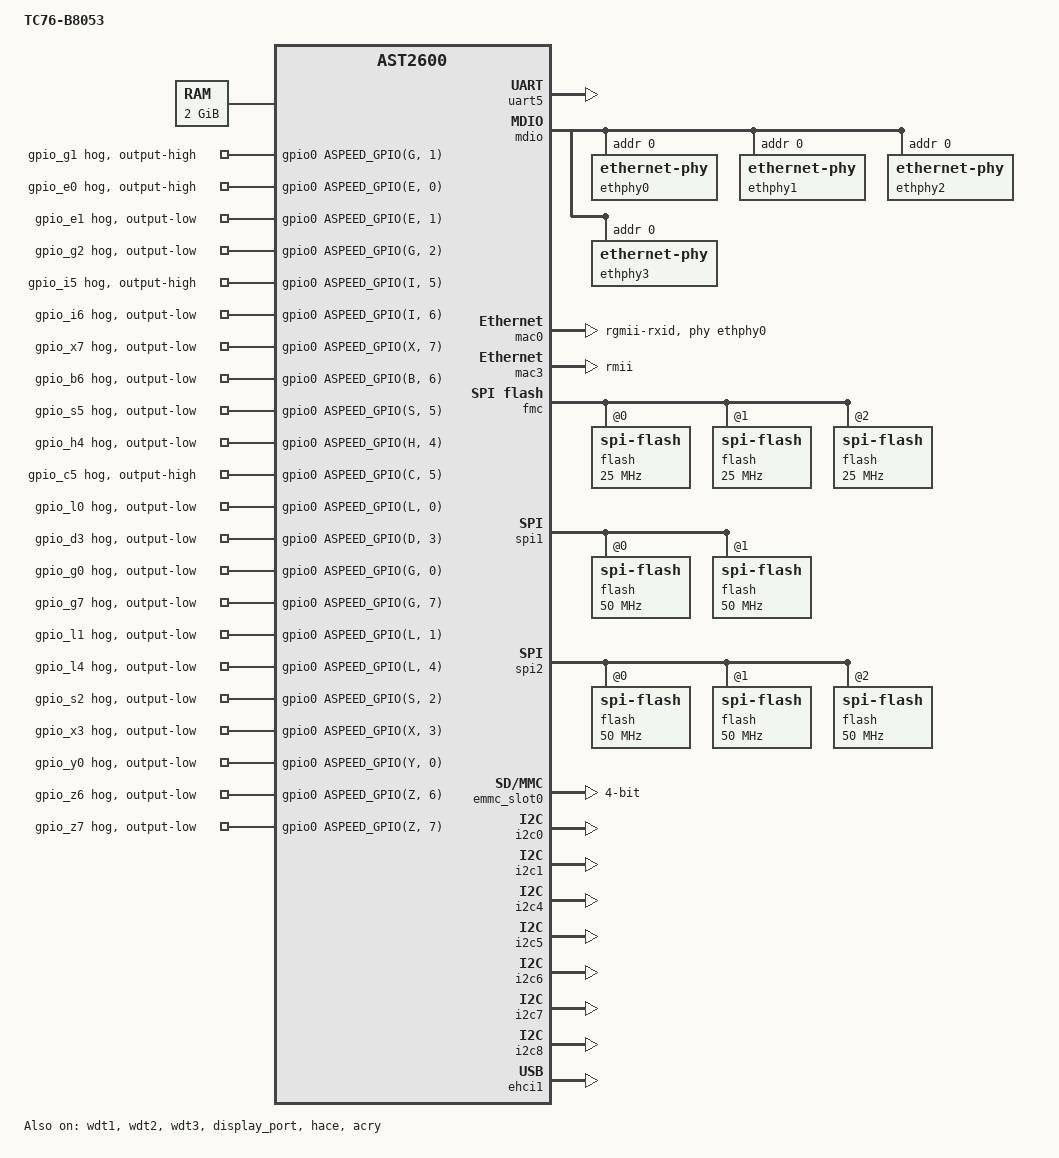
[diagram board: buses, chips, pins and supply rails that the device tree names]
/dts-v1/;

#include "ast2600-u-boot.dtsi"

/ {
        model = "TC76-B8053";
        compatible = "aspeed,ast2600-evb", "aspeed,ast2600";

	memory {
		device_type = "memory";
		reg = <0x80000000 0x80000000>;
	};

	reserved-memory {
		#address-cells = <1>;
		#size-cells = <1>;
		ranges;

		gfx_memory: framebuffer {
			size = <0x01000000>;
			alignment = <0x01000000>;
			compatible = "shared-dma-pool";
			reusable;
		};

		video_memory: video {
			size = <0x04000000>;
			alignment = <0x01000000>;
			compatible = "shared-dma-pool";
			no-map;
		};

		ramoops@fb000000 {
			compatible = "ramoops";
			reg = <0xfb000000 0x30000>;
			record-size = <0x10000>;
			console-size = <0x10000>;
			pmsg-size = <0x10000>;
			max-reason = <3>;
		};
	};

	chosen {
		stdout-path = &uart5;
	};

	aliases {
		mmc0 = &emmc_slot0;
		mmc1 = &sdhci_slot0;
		mmc2 = &sdhci_slot1;
		spi0 = &fmc;
		spi1 = &spi1;
		spi2 = &spi2;
		ethernet0 = &mac0;
		ethernet1 = &mac1;
		ethernet2 = &mac2;
		ethernet3 = &mac3;
	};

	cpus {
		cpu@0 {
			clock-frequency = <800000000>;
		};
		cpu@1 {
			clock-frequency = <800000000>;
		};
	};
};

&uart5 {
	u-boot,dm-pre-reloc;
	status = "okay";
};

&sdrammc {
	clock-frequency = <400000000>;
};

&wdt1 {
	status = "okay";
};

&wdt2 {
	status = "okay";
};

&wdt3 {
	status = "okay";
};

&mdio {
	status = "okay";
	pinctrl-names = "default";
	pinctrl-0 = <&pinctrl_mdio1_default>;
	#address-cells = <1>;
	#size-cells = <0>;
	ethphy0: ethernet-phy@0 {
		reg = <0>;
	};

	ethphy1: ethernet-phy@1 {
		reg = <0>;
	};

	ethphy2: ethernet-phy@2 {
		reg = <0>;
	};

	ethphy3: ethernet-phy@3 {
		reg = <0>;
	};
};

&mac0 {
	status = "okay";
	phy-mode = "rgmii-rxid";
	phy-handle = <&ethphy0>;
	pinctrl-names = "default";
	pinctrl-0 = <&pinctrl_rgmii1_default>;
};

&mac1 {
	status = "disabled";
	phy-mode = "rgmii-rxid";
	phy-handle = <&ethphy1>;
	pinctrl-names = "default";
	pinctrl-0 = <&pinctrl_rgmii2_default>;
};

&mac2 {
	status = "disabled";
	phy-mode = "rgmii";
	phy-handle = <&ethphy2>;
	pinctrl-names = "default";
	pinctrl-0 = <&pinctrl_rgmii3_default>;
};

&mac3 {
	status = "okay";
	phy-mode = "rmii";
	pinctrl-names = "default";
	pinctrl-0 = <&pinctrl_rmii4_default>;
};

&fmc {
	status = "okay";

	pinctrl-names = "default";
	pinctrl-0 = <&pinctrl_fmcquad_default>;

	flash@0 {
		compatible = "spi-flash", "sst,w25q256";
		status = "okay";
		spi-max-frequency = <25000000>;
		spi-tx-bus-width = <4>;
		spi-rx-bus-width = <4>;
	};

	flash@1 {
		compatible = "spi-flash", "sst,w25q256";
		status = "okay";
		spi-max-frequency = <25000000>;
		spi-tx-bus-width = <4>;
		spi-rx-bus-width = <4>;
	};

	flash@2 {
		compatible = "spi-flash", "sst,w25q256";
		status = "okay";
		spi-max-frequency = <25000000>;
		spi-tx-bus-width = <4>;
		spi-rx-bus-width = <4>;
	};
};

&spi1 {
	status = "okay";

	pinctrl-names = "default";
	pinctrl-0 = <&pinctrl_spi1_default &pinctrl_spi1abr_default
			&pinctrl_spi1cs1_default &pinctrl_spi1wp_default
			&pinctrl_spi1wp_default &pinctrl_spi1quad_default>;

	flash@0 {
		compatible = "spi-flash", "sst,w25q256";
		status = "okay";
		spi-max-frequency = <50000000>;
		spi-tx-bus-width = <4>;
		spi-rx-bus-width = <4>;
	};

	flash@1 {
		compatible = "spi-flash", "sst,w25q256";
		status = "okay";
		spi-max-frequency = <50000000>;
		spi-tx-bus-width = <4>;
		spi-rx-bus-width = <4>;
	};
};

&spi2 {
	status = "okay";

	pinctrl-names = "default";
	pinctrl-0 = <&pinctrl_spi2_default &pinctrl_spi2cs1_default
			&pinctrl_spi2cs2_default &pinctrl_spi2quad_default>;

	flash@0 {
		compatible = "spi-flash", "sst,w25q256";
		status = "okay";
		spi-max-frequency = <50000000>;
		spi-tx-bus-width = <4>;
		spi-rx-bus-width = <4>;
	};

	flash@1 {
		compatible = "spi-flash", "sst,w25q256";
		status = "okay";
		spi-max-frequency = <50000000>;
		spi-tx-bus-width = <4>;
		spi-rx-bus-width = <4>;
	};

	flash@2 {
		compatible = "spi-flash", "sst,w25q256";
		status = "okay";
		spi-max-frequency = <50000000>;
		spi-tx-bus-width = <4>;
		spi-rx-bus-width = <4>;
	};
};

&emmc {
	u-boot,dm-pre-reloc;
	timing-phase = <0x000f0097>;
};

&emmc_slot0 {
	u-boot,dm-pre-reloc;
	status = "okay";
	bus-width = <4>;
	pinctrl-names = "default";
	pinctrl-0 = <&pinctrl_emmc_default>;
	sdhci-drive-type = <1>;
};

&sdhci {
	timing-phase = <0x00c6375f>;
};

&sdhci_slot0 {
	status = "disabled";
	bus-width = <4>;
	pwr-gpios = <&gpio0 ASPEED_GPIO(V, 0) GPIO_ACTIVE_HIGH>;
	pwr-sw-gpios = <&gpio0 ASPEED_GPIO(V, 1) GPIO_ACTIVE_HIGH>;
	pinctrl-names = "default";
	pinctrl-0 = <&pinctrl_sd1_default>;
	sdhci-drive-type = <1>;
};

&sdhci_slot1 {
	status = "disabled";
	bus-width = <4>;
	pwr-gpios = <&gpio0 ASPEED_GPIO(V, 2) GPIO_ACTIVE_HIGH>;
	pwr-sw-gpios = <&gpio0 ASPEED_GPIO(V, 3) GPIO_ACTIVE_HIGH>;
	pinctrl-names = "default";
	pinctrl-0 = <&pinctrl_sd2_default>;
	sdhci-drive-type = <1>;
};

&i2c0 {
	status = "okay";

	pinctrl-names = "default";
	pinctrl-0 = <&pinctrl_i2c1_default>;
};

&i2c1 {
	status = "okay";

	pinctrl-names = "default";
	pinctrl-0 = <&pinctrl_i2c2_default>;
};

&i2c4 {
	status = "okay";

	pinctrl-names = "default";
	pinctrl-0 = <&pinctrl_i2c5_default>;
};

&i2c5 {
	status = "okay";

	pinctrl-names = "default";
	pinctrl-0 = <&pinctrl_i2c6_default>;
};

&i2c6 {
	status = "okay";

	pinctrl-names = "default";
	pinctrl-0 = <&pinctrl_i2c7_default>;
};

&i2c7 {
	status = "okay";

	pinctrl-names = "default";
	pinctrl-0 = <&pinctrl_i2c8_default>;
};

&i2c8 {
	status = "okay";

	pinctrl-names = "default";
	pinctrl-0 = <&pinctrl_i2c9_default>;
};

#if 0
&pcie_rc_bridge1 {
	status = "okay";
};

&pcie_bridge {
	status = "okay";
};
#endif

#if 0
&fsim0 {
	status = "okay";
};

&fsim1 {
	status = "okay";
};
#endif

#if 0
&vhub {
	status = "okay";
};
#endif

&ehci1 {
	status = "okay";
};

&display_port {
	status = "okay";
};

&scu {
	mac0-clk-delay = <0x10 0x0a
			  0x10 0x10
			  0x10 0x10>;
	mac1-clk-delay = <0x10 0x0a
			  0x10 0x10
			  0x10 0x10>;
	mac2-clk-delay = <0x08 0x04
			  0x08 0x04
			  0x08 0x04>;
	mac3-clk-delay = <0x08 0x04
			  0x08 0x04
			  0x08 0x04>;
};

&hace {
	u-boot,dm-pre-reloc;
	status = "okay";
};

&acry {
	u-boot,dm-pre-reloc;
	status = "okay";
};

&gpio0 {
    u-boot,dm-pre-reloc;
    status = "okay";

    gpio_g1 {
        u-boot,dm-pre-reloc;
        gpio-hog;
        output-high;
        gpios = <ASPEED_GPIO(G, 1) GPIO_ACTIVE_HIGH>;
    };
	gpio_e0 {
        u-boot,dm-pre-reloc;
        gpio-hog;
        output-high;
        gpios = <ASPEED_GPIO(E, 0) GPIO_ACTIVE_HIGH>;
    };
	gpio_e1 {
        u-boot,dm-pre-reloc;
        gpio-hog;
        output-low;
        gpios = <ASPEED_GPIO(E, 1) GPIO_ACTIVE_HIGH>;
    };
	gpio_g2 {
        u-boot,dm-pre-reloc;
        gpio-hog;
        output-low;
        gpios = <ASPEED_GPIO(G, 2) GPIO_ACTIVE_HIGH>;
    };
	gpio_i5 {
        u-boot,dm-pre-reloc;
        gpio-hog;
        output-high;
        gpios = <ASPEED_GPIO(I, 5) GPIO_ACTIVE_HIGH>;
    };
	gpio_i6 {
        u-boot,dm-pre-reloc;
        gpio-hog;
        output-low;
        gpios = <ASPEED_GPIO(I, 6) GPIO_ACTIVE_HIGH>;
    };
	gpio_x7 {
        u-boot,dm-pre-reloc;
        gpio-hog;
        output-low;
        gpios = <ASPEED_GPIO(X, 7) GPIO_ACTIVE_HIGH>;
    };
	gpio_b6 {
        u-boot,dm-pre-reloc;
        gpio-hog;
        output-low;
        gpios = <ASPEED_GPIO(B, 6) GPIO_ACTIVE_HIGH>;
    };
	gpio_s5 {
        u-boot,dm-pre-reloc;
        gpio-hog;
        output-low;
        gpios = <ASPEED_GPIO(S, 5) GPIO_ACTIVE_HIGH>;
    };
	gpio_h4 {
        u-boot,dm-pre-reloc;
        gpio-hog;
        output-low;
        gpios = <ASPEED_GPIO(H, 4) GPIO_ACTIVE_HIGH>;
    };
	gpio_c5 {
        u-boot,dm-pre-reloc;
        gpio-hog;
        output-high;
        gpios = <ASPEED_GPIO(C, 5) GPIO_ACTIVE_HIGH>;
    };
	gpio_l0 {
        u-boot,dm-pre-reloc;
        gpio-hog;
        output-low;
        gpios = <ASPEED_GPIO(L, 0) GPIO_ACTIVE_HIGH>;
    };
	gpio_d3 {
        u-boot,dm-pre-reloc;
        gpio-hog;
        output-low;
        gpios = <ASPEED_GPIO(D, 3) GPIO_ACTIVE_HIGH>;
    };
	gpio_g0 {
        u-boot,dm-pre-reloc;
        gpio-hog;
        output-low;
        gpios = <ASPEED_GPIO(G, 0) GPIO_ACTIVE_HIGH>;
    };
	gpio_g7 {
        u-boot,dm-pre-reloc;
        gpio-hog;
        output-low;
        gpios = <ASPEED_GPIO(G, 7) GPIO_ACTIVE_HIGH>;
    };
	gpio_l1 {
        u-boot,dm-pre-reloc;
        gpio-hog;
        output-low;
        gpios = <ASPEED_GPIO(L, 1) GPIO_ACTIVE_HIGH>;
    };
	gpio_l4 {
        u-boot,dm-pre-reloc;
        gpio-hog;
        output-low;
        gpios = <ASPEED_GPIO(L, 4) GPIO_ACTIVE_HIGH>;
    };
	gpio_s2 {
        u-boot,dm-pre-reloc;
        gpio-hog;
        output-low;
        gpios = <ASPEED_GPIO(S, 2) GPIO_ACTIVE_HIGH>;
    };
	gpio_x3 {
        u-boot,dm-pre-reloc;
        gpio-hog;
        output-low;
        gpios = <ASPEED_GPIO(X, 3) GPIO_ACTIVE_HIGH>;
    };
	gpio_y0 {
        u-boot,dm-pre-reloc;
        gpio-hog;
        output-low;
        gpios = <ASPEED_GPIO(Y, 0) GPIO_ACTIVE_HIGH>;
    };
	gpio_z6 {
        u-boot,dm-pre-reloc;
        gpio-hog;
        output-low;
        gpios = <ASPEED_GPIO(Z, 6) GPIO_ACTIVE_HIGH>;
    };
    gpio_z7 {
        u-boot,dm-pre-reloc;
        gpio-hog;
        output-low;
        gpios = <ASPEED_GPIO(Z, 7) GPIO_ACTIVE_HIGH>;
    };
};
